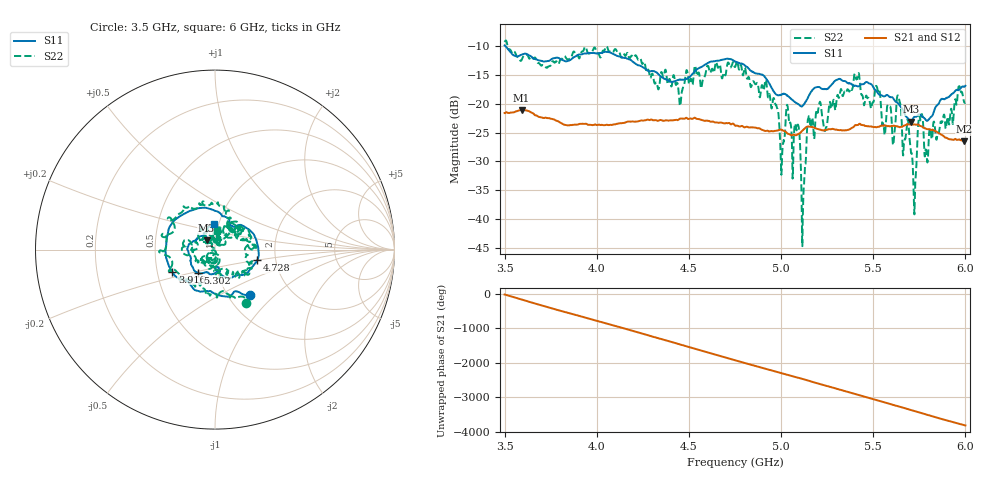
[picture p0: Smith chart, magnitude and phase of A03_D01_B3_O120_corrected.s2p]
! Created with skrf 1.9.0 (http://scikit-rf.org).
# Hz S RI R 50.0
!freq ReS11 ImS11 ReS21 ImS21 ReS12 ImS12 ReS22 ImS22
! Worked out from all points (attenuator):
!   1601 points, 3.5 GHz to 6 GHz, reference 50 ohm
!   highest |S21| = -21.08 dB at 3.592 GHz (marker M1); lowest = -26.5 dB at 5.994 GHz (marker M2)
!   lowest |S11| = -23.1 dB at 5.703 GHz (marker M3), VSWR 1.15, Z = 45.3 + j4.71 ohm
!   |S11| at or under -10 dB: 3.505 GHz to end of sweep
!   |S22| runs from -44.7 to -9.0 dB; largest |S21 - S12| = 0.0013
!   S11 on the Smith chart (normalised r, x): 3.5 GHz: 1.26, -0.72; 3.916 GHz: 0.60, -0.16; 4.728 GHz: 1.60, -0.20; 5.302 GHz: 0.80, -0.21; 6 GHz: 0.95, +0.28
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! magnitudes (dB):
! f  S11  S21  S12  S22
! 3.5 GHz  -9.9  -21.6  -21.6  -9.3
! 3.592 GHz  -11.5  -21.1  -21.1  -12.4
! 3.916 GHz  -11.4  -23.5  -23.5  -11.1
! 3.917 GHz  -11.4  -23.5  -23.5  -11.0
! 4.334 GHz  -14.9  -23.0  -22.9  -17.5
! 4.728 GHz  -12.3  -23.6  -23.5  -13.6
! 4.75 GHz  -12.7  -23.8  -23.8  -13.6
! 4.969 GHz  -18.2  -24.7  -24.7  -20.1
! 5.006 GHz  -18.4  -24.6  -24.6  -28.5
! 5.036 GHz  -18.6  -25.2  -25.1  -20.5
! 5.088 GHz  -19.9  -25.4  -25.4  -24.1
! 5.119 GHz  -20.3  -24.6  -24.5  -38.3
! 5.167 GHz  -17.7  -24.0  -24.0  -22.5
! 5.302 GHz  -15.8  -24.5  -24.5  -19.3
! 5.411 GHz  -16.9  -23.7  -23.7  -15.6
! 5.584 GHz  -18.7  -23.9  -23.9  -20.5
! 5.703 GHz  -23.1  -23.6  -23.6  -28.0
! 5.723 GHz  -22.3  -23.6  -23.6  -39.2
! 5.756 GHz  -21.9  -23.9  -23.8  -22.9
! 5.787 GHz  -22.9  -24.3  -24.3  -28.1
! 5.994 GHz  -17.0  -26.5  -26.5  -19.8
! 6 GHz  -16.9  -26.5  -26.5  -19.8
